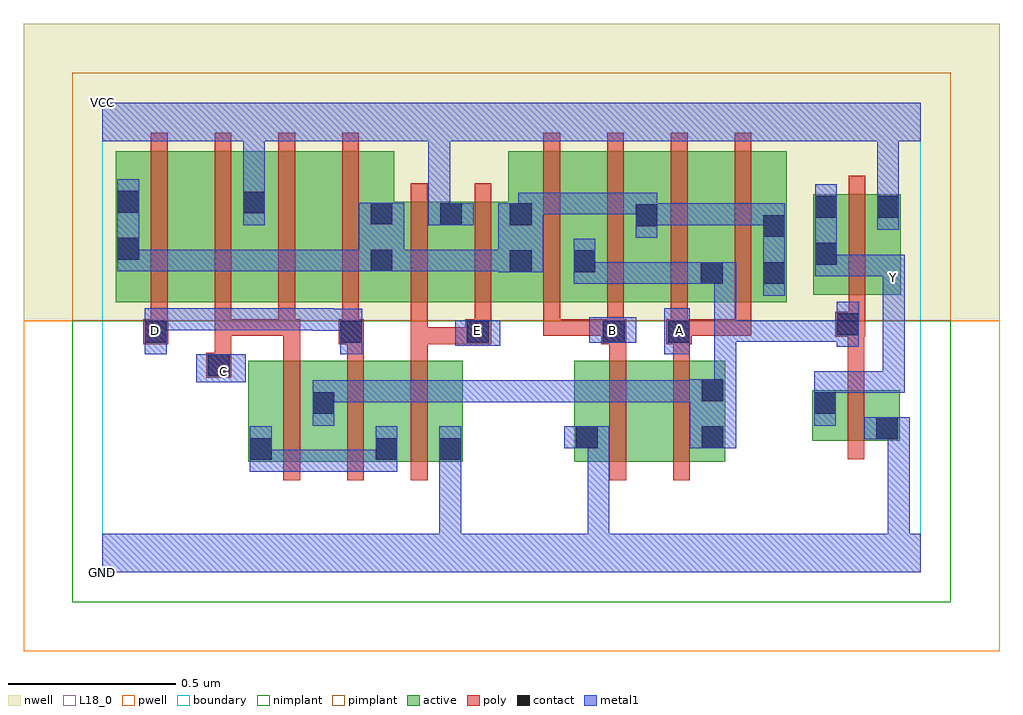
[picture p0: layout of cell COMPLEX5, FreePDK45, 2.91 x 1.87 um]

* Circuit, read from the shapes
.subckt COMPLEX5 A B C D E GND VCC Y
M1 n1 C n2 VSUBS nfet w=0.3u l=0.05u
M2 n2 D n1 VSUBS nfet w=0.3u l=0.05u
M3 GND E n2 VSUBS nfet w=0.3u l=0.05u
M4 n3 B GND VSUBS nfet w=0.3u l=0.05u
M5 n1 A n3 VSUBS nfet w=0.3u l=0.05u
M6 GND n1 Y VSUBS nfet w=0.15u l=0.05u
M7 n4 D n5 n6 pfet w=0.45u l=0.05u
M8 VCC C n4 n6 pfet w=0.45u l=0.05u
M9 n7 C VCC n6 pfet w=0.45u l=0.05u
M10 n5 D n7 n6 pfet w=0.45u l=0.05u
M11 VCC E n5 n6 pfet w=0.3u l=0.05u m=2
M12 n1 B n5 n6 pfet w=0.45u l=0.05u m=2
M13 n1 A n5 n6 pfet w=0.45u l=0.05u m=2
M14 VCC n1 Y n6 pfet w=0.3u l=0.05u
.ends

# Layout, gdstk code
import gdstk
lib = gdstk.Library(unit=1e-6, precision=1e-09)
def R(c, l, rs):  # rectangles x0, y0, x1, y1
    for r in rs: c.add(gdstk.rectangle(r[:2], r[2:], *l))
def A(c, l, x, y, w, h, nx, ny, dx, dy):  # array of equal rectangles
    R(c, l, [(x+i*dx, y+j*dy, x+i*dx+w, y+j*dy+h) for i in range(nx) for j in range(ny)])
active = (1, 0)
pwell = (2, 0)
nwell = (3, 0)
nimplant = (4, 0)
pimplant = (5, 0)
poly = (9, 0)
contact = (10, 0)
metal1 = (11, 0)
L18_0 = (18, 0)
boundary = (235, 0)

complex5 = lib.new_cell('COMPLEX5')
R(complex5, active, [(0.435,0.33,0.51,0.63), (0.435,0.33,0.697,0.63), (0.622,0.33,0.885,0.63), (0.81,0.33,1.075,0.63), (0.81,0.33,0.885,0.547), (1,0.33,1.075,0.63), (1.407,0.33,1.632,0.63), (1.632,0.33,1.857,0.63), (1.407,0.365,1.482,0.547), (1.782,0.365,1.857,0.63), (2.117,0.392,2.192,0.542), (2.117,0.392,2.377,0.542), (2.302,0.392,2.377,0.542), (0.622,0.395,0.697,0.542), (0.04,0.805,0.265,1.255), (0.04,0.805,0.145,1.2), (0.265,0.805,0.49,1.255), (0.415,0.805,0.645,1.255), (0.645,0.805,0.87,1.255), (0.795,0.805,0.87,1.2), (0.795,0.805,1.077,1.105), (1.002,0.805,1.285,1.105), (1.21,0.805,1.285,1.2), (1.21,0.805,1.475,1.255), (1.4,0.805,1.66,1.255), (1.585,0.805,1.855,1.255), (1.78,0.805,2.04,1.255), (1.965,0.805,2.04,1.2), (2.12,0.827,2.195,1.127), (2.12,0.827,2.38,1.127), (2.305,0.827,2.38,1.127), (1.78,0.855,1.855,1.07), (0.415,0.857,0.49,1.255), (1.4,0.857,1.475,1.07), (1.585,0.857,1.66,1.2), (1.002,1.007,1.077,1.105)])
R(complex5, pwell, [(-0.235,-0.235,2.675,0.75)])
R(complex5, nwell, [(-0.235,0.75,2.675,1.635)])
R(complex5, nimplant, [(-0.09,-0.09,2.53,0.75)])
R(complex5, pimplant, [(-0.09,0.75,2.53,1.49)])
A(complex5, poly, 0.54, 0.275, 0.05, 0.41, 3, 1, 0.19, 0)
A(complex5, poly, 0.145, 0.705, 0.05, 0.095, 4, 1, 0.19, 0)
A(complex5, poly, 1.315, 0.705, 0.05, 0.095, 4, 1, 0.19, 0)
A(complex5, poly, 0.145, 0.75, 0.05, 0.56, 4, 1, 0.19, 0)
A(complex5, poly, 1.315, 0.75, 0.05, 0.56, 4, 1, 0.19, 0)
R(complex5, poly, [(1.512,0.275,1.562,0.685), (1.702,0.275,1.752,0.685), (2.222,0.337,2.272,0.597), (2.222,0.547,2.272,0.752), (0.31,0.58,0.385,0.655), (0.335,0.605,0.385,0.755), (0.54,0.635,0.59,0.755), (0.73,0.635,0.78,0.73), (0.92,0.635,0.97,0.73), (1.512,0.635,1.562,0.73), (1.702,0.635,1.752,0.73), (0.122,0.68,0.197,0.755), (0.705,0.68,0.78,0.755), (0.92,0.68,0.97,0.73), (0.92,0.68,1.132,0.73), (0.92,0.68,0.97,0.8), (1.082,0.68,1.132,0.73), (1.082,0.68,1.132,0.73), (1.082,0.68,1.16,0.755), (1.487,0.68,1.562,0.755), (1.682,0.68,1.757,0.755), (2.185,0.702,2.275,0.777), (0.335,0.705,0.385,0.755), (0.335,0.705,0.385,0.755), (0.335,0.705,0.385,0.755), (0.335,0.705,0.385,0.755), (0.335,0.705,0.385,0.755), (0.335,0.705,0.575,0.755), (0.525,0.705,0.59,0.755), (1.11,0.705,1.16,0.8), (1.315,0.705,1.365,0.755), (1.315,0.705,1.537,0.755), (1.487,0.705,1.537,0.755), (1.487,0.705,1.537,0.755), (1.707,0.705,1.935,0.755), (1.885,0.705,1.935,0.755), (1.885,0.705,1.935,0.755), (1.885,0.705,1.935,0.755), (2.225,0.727,2.275,0.822), (0.92,0.75,0.97,1.16), (1.11,0.75,1.16,1.16), (2.225,0.772,2.275,1.182)])
R(complex5, contact, [(0.44,0.335,0.505,0.4), (0.815,0.335,0.88,0.4), (1.005,0.335,1.07,0.4), (1.412,0.37,1.477,0.435), (1.787,0.37,1.852,0.435), (2.307,0.397,2.372,0.462), (0.627,0.472,0.692,0.537), (2.122,0.472,2.187,0.537), (1.787,0.51,1.852,0.575), (0.315,0.585,0.38,0.65), (0.127,0.685,0.192,0.75), (0.71,0.685,0.775,0.75), (1.087,0.685,1.152,0.75), (1.492,0.685,1.557,0.75), (1.687,0.685,1.752,0.75), (2.19,0.707,2.255,0.772), (1.785,0.86,1.85,0.925), (1.97,0.86,2.035,0.925), (1.215,0.895,1.28,0.96), (1.405,0.895,1.47,0.96), (0.8,0.897,0.865,0.962), (2.125,0.917,2.19,0.982), (0.045,0.932,0.11,0.997), (1.97,1,2.035,1.065), (1.59,1.032,1.655,1.097), (1.007,1.035,1.072,1.1), (1.215,1.035,1.28,1.1), (0.8,1.037,0.865,1.102), (2.125,1.057,2.19,1.122), (2.31,1.057,2.375,1.122), (0.42,1.07,0.485,1.135), (0.045,1.072,0.11,1.137)])
R(complex5, metal1, [(0,0,2.44,0.115), (1.005,0.05,1.07,0.115), (1.005,0.05,1.07,0.115), (1.005,0.05,1.07,0.115), (1.005,0.05,1.07,0.115), (1.005,0.05,1.07,0.365), (1.447,0.05,1.512,0.435), (2.342,0.05,2.407,0.115), (2.342,0.05,2.407,0.115), (2.342,0.05,2.407,0.462), (0.44,0.3,0.505,0.435), (0.44,0.3,0.522,0.365), (0.457,0.3,0.522,0.365), (0.457,0.3,0.692,0.365), (0.627,0.3,0.692,0.365), (0.627,0.3,0.692,0.365), (0.627,0.3,0.692,0.365), (0.627,0.3,0.88,0.365), (0.815,0.3,0.88,0.435), (1.005,0.3,1.07,0.435), (1.377,0.37,1.512,0.435), (1.447,0.37,1.512,0.435), (1.447,0.37,1.512,0.435), (1.447,0.37,1.512,0.435), (1.447,0.37,1.512,0.435), (1.752,0.37,1.89,0.575), (2.272,0.397,2.407,0.462), (2.342,0.397,2.407,0.462), (2.342,0.397,2.407,0.462), (2.342,0.397,2.407,0.462), (2.342,0.397,2.407,0.462), (0.627,0.437,0.692,0.572), (2.122,0.437,2.187,0.572), (0.627,0.507,0.762,0.572), (0.697,0.507,0.762,0.572), (0.697,0.507,0.9,0.572), (0.835,0.507,0.9,0.572), (0.835,0.507,0.9,0.572), (0.835,0.507,0.9,0.572), (0.835,0.507,1.037,0.572), (0.972,0.507,1.037,0.572), (0.972,0.507,1.037,0.572), (0.972,0.507,1.037,0.572), (0.972,0.507,1.305,0.572), (1.24,0.507,1.305,0.572), (1.24,0.507,1.305,0.572), (1.24,0.507,1.305,0.572), (1.24,0.507,1.452,0.572), (1.387,0.507,1.452,0.572), (1.387,0.507,1.452,0.572), (1.387,0.507,1.452,0.572), (1.387,0.507,1.652,0.572), (1.587,0.507,1.652,0.572), (1.587,0.507,1.652,0.572), (1.587,0.507,1.652,0.572), (1.587,0.507,1.817,0.572), (2.122,0.507,2.187,0.572), (2.122,0.507,2.187,0.6), (1.825,0.51,1.89,0.752), (2.122,0.535,2.392,0.6), (2.327,0.535,2.392,0.6), (2.327,0.535,2.392,0.877), (0.28,0.567,0.427,0.65), (0.127,0.65,0.192,0.787), (0.71,0.65,0.775,0.785), (1.675,0.65,1.752,0.787), (2.19,0.672,2.255,0.807), (1.052,0.675,1.187,0.752), (1.452,0.685,1.592,0.76), (1.825,0.687,1.89,0.752), (1.825,0.687,1.89,0.752), (1.825,0.687,1.89,0.752), (1.825,0.687,2.035,0.752), (1.825,0.687,1.89,0.925), (1.97,0.687,2.035,0.752), (1.97,0.687,2.035,0.752), (1.97,0.687,2.035,0.752), (1.97,0.687,2.255,0.752), (0.627,0.72,0.775,0.785), (0.627,0.72,0.692,0.787), (0.127,0.722,0.247,0.787), (0.182,0.722,0.247,0.787), (0.182,0.722,0.385,0.787), (0.32,0.722,0.385,0.787), (0.32,0.722,0.385,0.787), (0.32,0.722,0.385,0.787), (0.32,0.722,0.555,0.787), (0.49,0.722,0.555,0.787), (0.49,0.722,0.692,0.787), (2.327,0.812,2.392,0.947), (1.97,0.825,2.035,1.1), (1.405,0.86,1.47,0.925), (1.405,0.86,1.47,0.925), (1.405,0.86,1.47,0.995), (1.405,0.86,1.677,0.925), (1.612,0.86,1.677,0.925), (1.612,0.86,1.677,0.925), (1.612,0.86,1.677,0.925), (1.612,0.86,1.815,0.925), (1.75,0.86,1.89,0.925), (2.125,0.882,2.19,0.947), (2.125,0.882,2.19,0.947), (2.125,0.882,2.392,0.947), (2.125,0.882,2.19,1.157), (2.327,0.882,2.392,0.947), (2.327,0.882,2.392,0.947), (1.18,0.895,1.315,1.1), (0.045,0.897,0.11,0.962), (0.045,0.897,0.11,0.962), (0.045,0.897,0.11,1.172), (0.045,0.897,0.247,0.962), (0.182,0.897,0.247,0.962), (0.182,0.897,0.33,0.962), (0.265,0.897,0.33,0.962), (0.265,0.897,0.555,0.962), (0.49,0.897,0.555,0.962), (0.49,0.897,0.555,0.962), (0.49,0.897,0.555,0.962), (0.49,0.897,0.692,0.962), (0.627,0.897,0.692,0.962), (0.627,0.897,0.692,0.962), (0.627,0.897,0.692,0.962), (0.627,0.897,0.83,0.962), (0.765,0.897,0.9,1.102), (0.835,0.897,0.9,0.962), (0.835,0.897,0.9,0.962), (0.835,0.897,1.107,0.962), (1.042,0.897,1.107,0.962), (1.042,0.897,1.107,0.962), (1.042,0.897,1.107,0.962), (1.042,0.897,1.245,0.962), (1.59,0.997,1.655,1.132), (2.31,1.022,2.375,1.157), (0.42,1.035,0.485,1.17), (0.972,1.035,1.107,1.1), (0.972,1.035,1.037,1.35), (1.24,1.035,1.305,1.132), (1.59,1.035,1.655,1.1), (1.59,1.035,1.655,1.1), (1.59,1.035,1.897,1.1), (1.832,1.035,1.897,1.1), (1.832,1.035,1.897,1.1), (1.832,1.035,1.897,1.1), (1.832,1.035,2.035,1.1), (1.24,1.067,1.305,1.132), (1.24,1.067,1.305,1.132), (1.24,1.067,1.305,1.132), (1.24,1.067,1.452,1.132), (1.387,1.067,1.452,1.132), (1.387,1.067,1.452,1.132), (1.387,1.067,1.452,1.132), (1.387,1.067,1.655,1.132), (2.31,1.092,2.375,1.157), (2.31,1.092,2.375,1.157), (2.31,1.092,2.375,1.35), (0.42,1.105,0.485,1.35), (0,1.285,2.44,1.4), (0.972,1.285,1.037,1.35), (0.972,1.285,1.037,1.35)])
R(complex5, L18_0, [(0,0,2.44,0.115), (1.005,0.05,1.07,0.115), (1.005,0.05,1.07,0.115), (1.005,0.05,1.07,0.115), (1.005,0.05,1.07,0.115), (1.005,0.05,1.07,0.365), (1.447,0.05,1.512,0.435), (2.342,0.05,2.407,0.115), (2.342,0.05,2.407,0.115), (2.342,0.05,2.407,0.462), (1.005,0.3,1.07,0.435), (1.377,0.37,1.512,0.435), (1.447,0.37,1.512,0.435), (1.447,0.37,1.512,0.435), (1.447,0.37,1.512,0.435), (1.447,0.37,1.512,0.435), (2.272,0.397,2.407,0.462), (2.342,0.397,2.407,0.462), (2.342,0.397,2.407,0.462), (2.342,0.397,2.407,0.462), (2.342,0.397,2.407,0.462), (2.122,0.437,2.187,0.572), (2.122,0.507,2.187,0.572), (2.122,0.507,2.187,0.6), (2.122,0.535,2.392,0.6), (2.327,0.535,2.392,0.6), (2.327,0.535,2.392,0.877), (0.28,0.567,0.427,0.65), (0.327,0.567,0.392,0.632), (0.127,0.65,0.192,0.787), (0.71,0.65,0.775,0.785), (1.675,0.65,1.752,0.787), (1.052,0.675,1.187,0.752), (1.452,0.685,1.592,0.76), (0.127,0.687,0.192,0.752), (1.087,0.687,1.152,0.752), (1.487,0.687,1.552,0.752), (1.687,0.687,1.752,0.752), (0.627,0.72,0.692,0.787), (0.627,0.72,0.775,0.785), (0.127,0.722,0.247,0.787), (0.182,0.722,0.247,0.787), (0.182,0.722,0.385,0.787), (0.32,0.722,0.385,0.787), (0.32,0.722,0.385,0.787), (0.32,0.722,0.385,0.787), (0.32,0.722,0.555,0.787), (0.49,0.722,0.555,0.787), (0.49,0.722,0.692,0.787), (2.327,0.812,2.392,0.947), (2.327,0.847,2.392,0.912), (2.125,0.882,2.19,0.947), (2.125,0.882,2.19,0.947), (2.125,0.882,2.19,1.157), (2.125,0.882,2.392,0.947), (2.327,0.882,2.392,0.947), (2.327,0.882,2.392,0.947), (2.31,1.022,2.375,1.157), (0.42,1.035,0.485,1.17), (0.972,1.035,1.037,1.35), (0.972,1.035,1.107,1.1), (2.31,1.092,2.375,1.157), (2.31,1.092,2.375,1.157), (2.31,1.092,2.375,1.35), (0.42,1.105,0.485,1.35), (0,1.285,2.44,1.4), (0.972,1.285,1.037,1.35), (0.972,1.285,1.037,1.35)])
R(complex5, boundary, [(0,0,2.44,1.4)])
complex5.add(gdstk.Label('A', (1.72,0.72), layer=11, texttype=0))
complex5.add(gdstk.Label('B', (1.52,0.72), layer=11, texttype=0))
complex5.add(gdstk.Label('C', (0.36,0.6), layer=11, texttype=0))
complex5.add(gdstk.Label('D', (0.16,0.72), layer=11, texttype=0))
complex5.add(gdstk.Label('E', (1.12,0.72), layer=11, texttype=0))
complex5.add(gdstk.Label('Y', (2.36,0.88), layer=11, texttype=0))
complex5.add(gdstk.Label('VCC', (0,1.4), layer=11, texttype=0))
complex5.add(gdstk.Label('GND', (0,0), layer=11, texttype=0))

lib.write_gds('COMPLEX5.gds')
